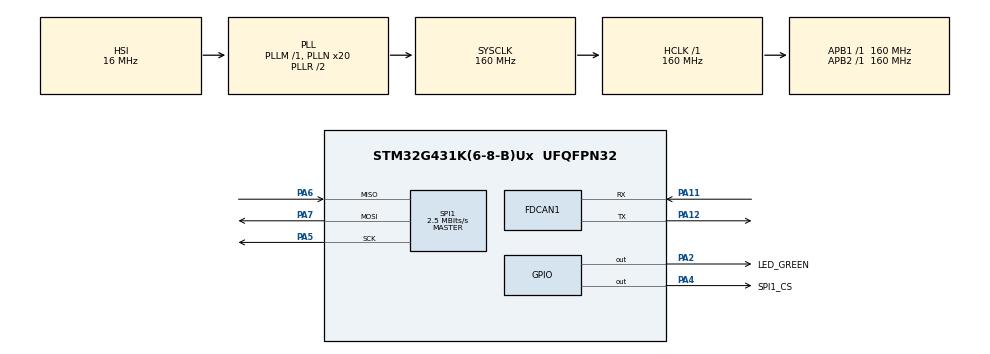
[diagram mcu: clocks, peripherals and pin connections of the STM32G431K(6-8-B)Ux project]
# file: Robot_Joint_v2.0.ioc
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FDCAN1.AutoRetransmission=ENABLE
FDCAN1.CalculateBaudRateNominal=1000000
FDCAN1.CalculateTimeBitNominal=1000
FDCAN1.CalculateTimeQuantumNominal=50.0
FDCAN1.DataPrescaler=4
FDCAN1.DataSyncJumpWidth=2
FDCAN1.DataTimeSeg1=5
FDCAN1.DataTimeSeg2=2
FDCAN1.FrameFormat=FDCAN_FRAME_FD_BRS
FDCAN1.NominalPrescaler=8
FDCAN1.NominalSyncJumpWidth=4
FDCAN1.NominalTimeSeg1=15
FDCAN1.NominalTimeSeg2=4
FDCAN1.StdFiltersNbr=1
IWDG.Prescaler=IWDG_PRESCALER_32
IWDG.Reload=2048
IWDG.Window=2048
Mcu.Family=STM32G4
Mcu.Name=STM32G431K(6-8-B)Ux
Mcu.Package=UFQFPN32
NVIC.FDCAN1_IT0_IRQn=true\:5\:0\:true\:false\:true\:true\:true\:true
NVIC.FDCAN1_IT1_IRQn=true\:5\:0\:true\:false\:true\:true\:true\:true
NVIC.PriorityGroup=NVIC_PRIORITYGROUP_4
NVIC.TIM7_IRQn=true\:1\:0\:true\:false\:true\:true\:true\:true
PA11.Mode=FDCAN_Activate
PA11.Signal=FDCAN1_RX
PA12.Mode=FDCAN_Activate
PA12.Signal=FDCAN1_TX
PA13.Mode=Serial_Wire
PA13.Signal=SYS_JTMS-SWDIO
PA14.Mode=Serial_Wire
PA14.Signal=SYS_JTCK-SWCLK
PA2.GPIO_Label=LED_GREEN
PA2.Signal=GPIO_Output
PA4.GPIO_Label=SPI1_CS
PA4.Signal=GPIO_Output
PA5.Mode=Full_Duplex_Master
PA5.Signal=SPI1_SCK
PA6.Mode=Full_Duplex_Master
PA6.Signal=SPI1_MISO
PA7.Mode=Full_Duplex_Master
PA7.Signal=SPI1_MOSI
ProjectManager.HeapSize=0x200
ProjectManager.StackSize=0x400
ProjectManager.TargetToolchain=STM32CubeIDE
RCC.ADC12Freq_Value=160000000
RCC.AHBFreq_Value=160000000
RCC.APB1Freq_Value=160000000
RCC.APB1TimFreq_Value=160000000
RCC.APB2Freq_Value=160000000
RCC.APB2TimFreq_Value=160000000
RCC.CortexFreq_Value=160000000
RCC.EXTERNAL_CLOCK_VALUE=12288000
RCC.HCLKFreq_Value=160000000
RCC.HSE_VALUE=8000000
RCC.HSI48_VALUE=48000000
RCC.HSI_VALUE=16000000
RCC.LSE_VALUE=32768
RCC.PLLN=20
RCC.SYSCLKFreq_VALUE=160000000
RCC.SYSCLKSource=RCC_SYSCLKSOURCE_PLLCLK
RCC.USBFreq_Value=160000000
RCC.VCOOutputFreq_Value=320000000
SPI1.BaudRatePrescaler=SPI_BAUDRATEPRESCALER_64
SPI1.CalculateBaudRate=2.5 MBits/s
SPI1.DataSize=SPI_DATASIZE_8BIT
SPI1.Direction=SPI_DIRECTION_2LINES
SPI1.Mode=SPI_MODE_MASTER
SPI1.VirtualType=VM_MASTER
TIM7.PeriodNoDither=1000
TIM7.Prescaler=160-1
VP_IWDG_VS_IWDG.Mode=IWDG_Activate
VP_SYS_VS_DBSignals.Mode=DisableDeadBatterySignals
VP_TIM7_VS_ClockSourceINT.Mode=Enable_Timer
board=custom

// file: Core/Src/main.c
/* USER CODE BEGIN Header */
/**
  ******************************************************************************
  * @file           : main.c
  * @brief          : Main program body
  ******************************************************************************
  * @attention
  *
  * Copyright (c) 2025 STMicroelectronics.
  * All rights reserved.
  *
  * This software is licensed under terms that can be found in the LICENSE file
  * in the root directory of this software component.
  * If no LICENSE file comes with this software, it is provided AS-IS.
  *
  ******************************************************************************
  */
/* USER CODE END Header */
#include "main.h"
#include "fdcan.h"
#include "iwdg.h"
#include "spi.h"
#include "tim.h"
#include "gpio.h"

void SystemClock_Config(void);

/* USER CODE BEGIN 0 */
uint32_t g_ChipId = 0;
/* USER CODE END 0 */

int main(void)
{

  /* USER CODE BEGIN 1 */
  SCB->VTOR = FLASH_BASE | 0x10000;
  /* USER CODE END 1 */

  /* MCU Configuration--------------------------------------------------------*/

  /* Reset of all peripherals, Initializes the Flash interface and the Systick. */
  HAL_Init();

  /* Configure the system clock */
  SystemClock_Config();

  /* Initialize all configured peripherals */
  MX_GPIO_Init();
  MX_FDCAN1_Init();
  MX_IWDG_Init();
  MX_SPI1_Init();
  MX_TIM7_Init();
  /* USER CODE BEGIN 2 */
  HAL_Delay(100);

  CanInit();

  HAL_TIM_Base_Start_IT(&htim7);
  InitTimer();
  StartAutoTimer(SOFT_TIME1,1);
  StartAutoTimer(SOFT_TIME2,2);
  StartAutoTimer(SOFT_TIME3,1000);

  InitFlash();
  ReadChipId(&g_ChipId);
  UpgradeFlashExamine();

  /* USER CODE END 2 */

  /* Infinite loop */
  while (1)
  {

    /* USER CODE BEGIN 3 */
    if (1 == CheckTimer(SOFT_TIME1)) {
      /* 获取编码器数据 */
      ReadAmsSensor(&g_AmsOriginAngle);

      /* 转化编码器数据 */
      g_AmsDataprocessAngle = SendDataProcess();
    }
    if (1 == CheckTimer(SOFT_TIME2)) {
      if (0 == g_Turnoffdev)
      SendAngleState();
    }
    if (1 == CheckTimer(SOFT_TIME3)) {
      HAL_GPIO_TogglePin(LED_GREEN_GPIO_Port,LED_GREEN_Pin);
    }
  }
  /* USER CODE END 3 */
}

void SystemClock_Config(void)
{
  RCC_OscInitTypeDef RCC_OscInitStruct = {0};
  RCC_ClkInitTypeDef RCC_ClkInitStruct = {0};

  /** Configure the main internal regulator output voltage
  */
  HAL_PWREx_ControlVoltageScaling(PWR_REGULATOR_VOLTAGE_SCALE1_BOOST);

  /** Initializes the RCC Oscillators according to the specified parameters
  * in the RCC_OscInitTypeDef structure.
  */
  RCC_OscInitStruct.OscillatorType = RCC_OSCILLATORTYPE_HSI|RCC_OSCILLATORTYPE_LSI;
  RCC_OscInitStruct.HSIState = RCC_HSI_ON;
  RCC_OscInitStruct.HSICalibrationValue = RCC_HSICALIBRATION_DEFAULT;
  RCC_OscInitStruct.LSIState = RCC_LSI_ON;
  RCC_OscInitStruct.PLL.PLLState = RCC_PLL_ON;
  RCC_OscInitStruct.PLL.PLLSource = RCC_PLLSOURCE_HSI;
  RCC_OscInitStruct.PLL.PLLM = RCC_PLLM_DIV1;
  RCC_OscInitStruct.PLL.PLLN = 20;
  RCC_OscInitStruct.PLL.PLLP = RCC_PLLP_DIV2;
  RCC_OscInitStruct.PLL.PLLQ = RCC_PLLQ_DIV2;
  RCC_OscInitStruct.PLL.PLLR = RCC_PLLR_DIV2;
  if (HAL_RCC_OscConfig(&RCC_OscInitStruct) != HAL_OK)
  {
    Error_Handler();
  }

  /** Initializes the CPU, AHB and APB buses clocks
  */
  RCC_ClkInitStruct.ClockType = RCC_CLOCKTYPE_HCLK|RCC_CLOCKTYPE_SYSCLK
                              |RCC_CLOCKTYPE_PCLK1|RCC_CLOCKTYPE_PCLK2;
  RCC_ClkInitStruct.SYSCLKSource = RCC_SYSCLKSOURCE_PLLCLK;
  RCC_ClkInitStruct.AHBCLKDivider = RCC_SYSCLK_DIV1;
  RCC_ClkInitStruct.APB1CLKDivider = RCC_HCLK_DIV1;
  RCC_ClkInitStruct.APB2CLKDivider = RCC_HCLK_DIV1;

  if (HAL_RCC_ClockConfig(&RCC_ClkInitStruct, FLASH_LATENCY_4) != HAL_OK)
  {
    Error_Handler();
  }
}

void Error_Handler(void)
{
  __disable_irq();
  while (1)
  {
  }
}
